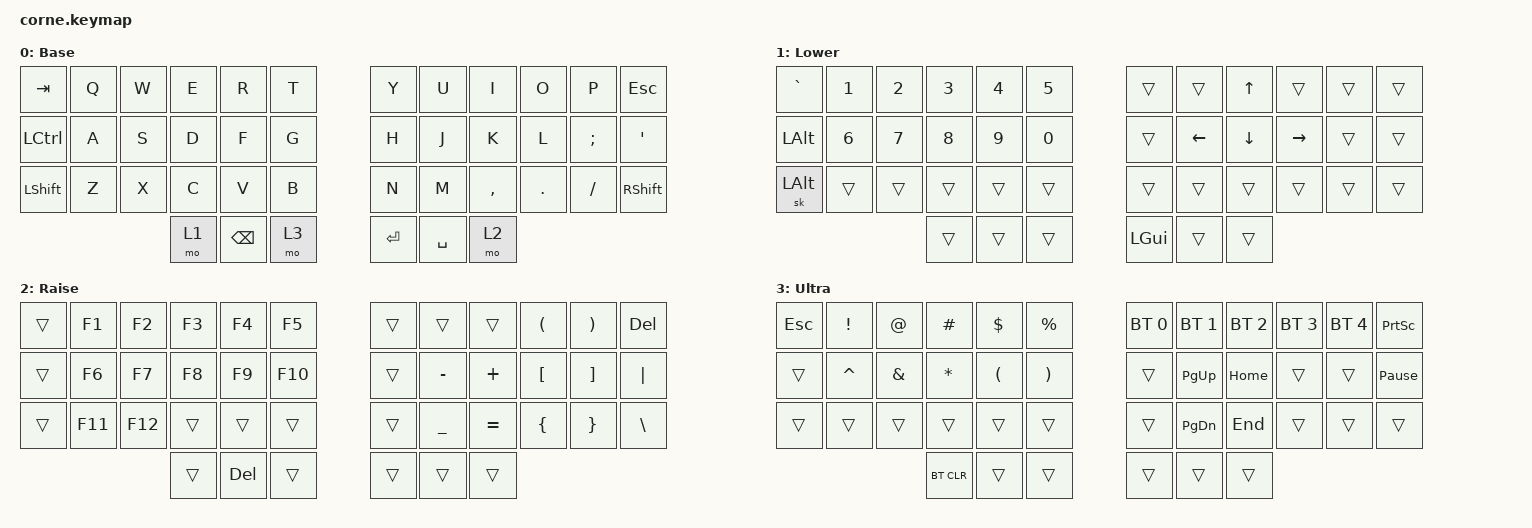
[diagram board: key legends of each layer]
/*
 * Copyright (c) 2020 The ZMK Contributors
 *
 * SPDX-License-Identifier: MIT
 */

#include <behaviors.dtsi>
#include <dt-bindings/zmk/keys.h>
#include <dt-bindings/zmk/bt.h>

/ {
        keymap {
                compatible = "zmk,keymap";

                default_layer {
// -----------------------------------------------------------------------------------------
// |  TAB |  Q  |  W  |  E  |  R  |  T  |   |  Y  |  U   |  I  |  O  |  P  | BKSP |
// | CTRL |  A  |  S  |  D  |  F  |  G  |   |  H  |  J   |  K  |  L  |  ;  |  '   |
// | SHFT |  Z  |  X  |  C  |  V  |  B  |   |  N  |  M   |  ,  |  .  |  /  | ESC  |
//                    | GUI | LWR | SPC |   | ENT | RSE  | ALT |
                        display-name = "Base";
                        bindings = <
   &kp TAB   &kp Q &kp W &kp E &kp R    &kp T            &kp Y   &kp U   &kp I     &kp O   &kp P    &kp ESC
   &kp LCTRL &kp A &kp S &kp D &kp F    &kp G            &kp H   &kp J   &kp K     &kp L   &kp SEMI &kp SQT
   &kp LSHFT &kp Z &kp X &kp C &kp V    &kp B            &kp N   &kp M   &kp COMMA &kp DOT &kp FSLH &kp RSHFT
                         &mo 1 &kp BSPC &mo 3            &kp RET &kp SPC &mo 2
                        >;
                };
                lower_layer {
// -----------------------------------------------------------------------------------------
// |  TAB |  1  |  2  |  3  |  4  |  5  |   |  6  |  7  |  8  |  9  |  0  | BKSP |
// | BTCLR| BT1 | BT2 | BT3 | BT4 | BT5 |   | LFT | DWN |  UP | RGT |     |      |
// | SHFT |     |     |     |     |     |   |     |     |     |     |     |      |
//                    | GUI |     | SPC |   | ENT |     | ALT |
                        display-name = "Lower";
                        bindings = <
   &kp GRAVE    &kp N1   &kp N2   &kp N3   &kp N4   &kp N5          &trans    &trans    &kp UP    &trans      &trans  &trans
   &kp LALT     &kp N6   &kp N7   &kp N8   &kp N9   &kp N0          &trans    &kp LEFT  &kp DOWN  &kp RIGHT   &trans  &trans
   &sk LALT     &trans   &trans   &trans   &trans   &trans          &trans    &trans    &trans    &trans      &trans  &trans
                                  &trans   &trans   &trans          &kp LGUI  &trans    &trans
                        >;
                };

                raise_layer {
// -----------------------------------------------------------------------------------------
// |  TAB |  !  |  @  |  #  |  $  |  %  |   |  ^  |  &  |  *  |  (  |  )  | BKSP |
// | CTRL |     |     |     |     |     |   |  -  |  =  |  [  |  ]  |  \  |  `   |
// | SHFT |     |     |     |     |     |   |  _  |  +  |  {  |  }  | "|" |  ~   |
//                    | GUI |     | SPC |   | ENT |     | ALT |
                        display-name = "Raise";
                        bindings = <
   &trans  &kp F1  &kp F2  &kp F3  &kp F4  &kp F5          &trans  &trans     &trans    &kp LPAR &kp RPAR  &kp DEL
   &trans  &kp F6  &kp F7  &kp F8  &kp F9  &kp F10         &trans  &kp MINUS  &kp PLUS  &kp LBKT &kp RBKT  &kp PIPE
   &trans  &kp F11 &kp F12 &trans  &trans  &trans          &trans  &kp UNDER  &kp EQUAL &kp LBRC &kp RBRC  &kp BSLH
                           &trans  &kp DEL &trans          &trans  &trans     &trans
                        >;
                };
                ultra_layer {
// -----------------------------------------------------------------------------------------
// |  TAB |  !  |  @  |  #  |  $  |  %  |   |  ^  |  &  |  *  |  (  |  )  | BKSP |
// | CTRL |     |     |     |     |     |   |  -  |  =  |  [  |  ]  |  \  |  `   |
// | SHFT |     |     |     |     |     |   |  _  |  +  |  {  |  }  | "|" |  ~   |
//                    | GUI |     | SPC |   | ENT |     | ALT |
                        display-name = "Ultra";
                        bindings = <
   &kp ESC    &kp EXCL   &kp AT    &kp HASH   &kp DLLR  &kp PRCNT         &bt BT_SEL 0 &bt BT_SEL 1 &bt BT_SEL 2 &bt BT_SEL 3       &bt BT_SEL 4  &kp PSCRN
   &trans     &kp CARET  &kp AMPS  &kp STAR   &kp LPAR  &kp RPAR          &trans       &kp PG_UP    &kp HOME     &trans             &trans        &kp PAUSE_BREAK
   &trans     &trans     &trans    &trans     &trans    &trans            &trans       &kp PG_DN    &kp END      &trans             &trans        &trans
                                   &bt BT_CLR &trans    &trans            &trans       &trans       &trans
                        >;
                };
        };
};
